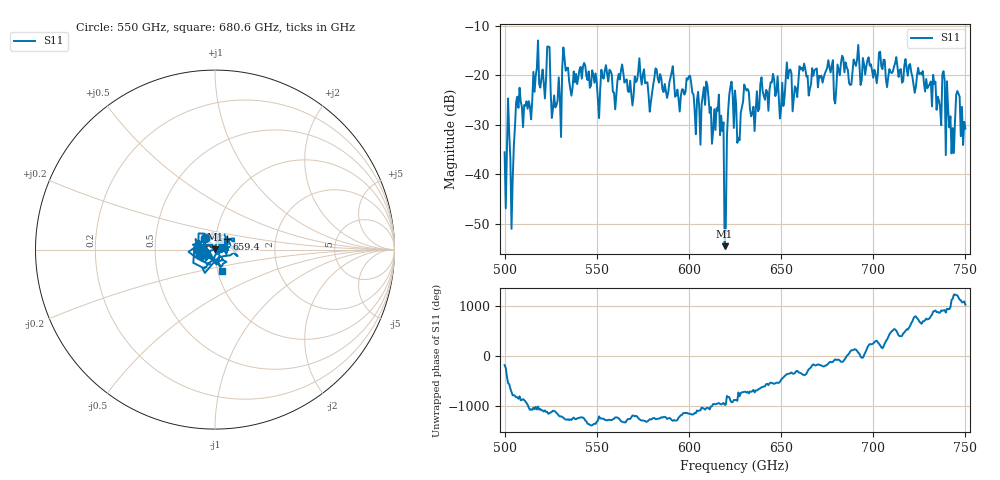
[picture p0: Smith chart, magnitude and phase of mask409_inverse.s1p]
!Created with skrf (http://scikit-rf.org).
# GHz S MA R 50.0
!freq magS11 angS11
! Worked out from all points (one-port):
!   401 points, 500 GHz to 750 GHz, reference 50 ohm
!   lowest |S11| = -54.5 dB at 619.4 GHz (marker M1), VSWR 1.00, Z = 49.9 + j0.177 ohm
!   |S11| at or under -10 dB: start of sweep to end of sweep
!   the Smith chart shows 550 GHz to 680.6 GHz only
!   S11 on the Smith chart (normalised r, x): 550 GHz: 0.89, +0.11; 659.4 GHz: 1.13, +0.13; 680.6 GHz: 1.05, -0.26
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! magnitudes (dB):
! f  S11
! 500 GHz  -35.5
! 504.4 GHz  -41.1
! 507.5 GHz  -26.6
! 513.8 GHz  -26.4
! 516.9 GHz  -20.2
! 523.8 GHz  -14.2
! 526.9 GHz  -24.1
! 531.2 GHz  -18.6
! 550 GHz  -21.4
! 562.5 GHz  -20.9
! 593.8 GHz  -22.9
! 600 GHz  -20.3
! 605 GHz  -23.4
! 609.4 GHz  -21.3
! 617.5 GHz  -28.2
! 619.4 GHz  -54.5
! 620.6 GHz  -32.3
! 622.5 GHz  -22.4
! 625 GHz  -23.1
! 656.2 GHz  -27.3
! 659.4 GHz  -21.2
! 680.6 GHz  -17.9
! 687.5 GHz  -22.0
! 718.8 GHz  -20.1
! 738.8 GHz  -21.0
! 742.5 GHz  -35.8
! 745.6 GHz  -23.2
! 750 GHz  -30.8
